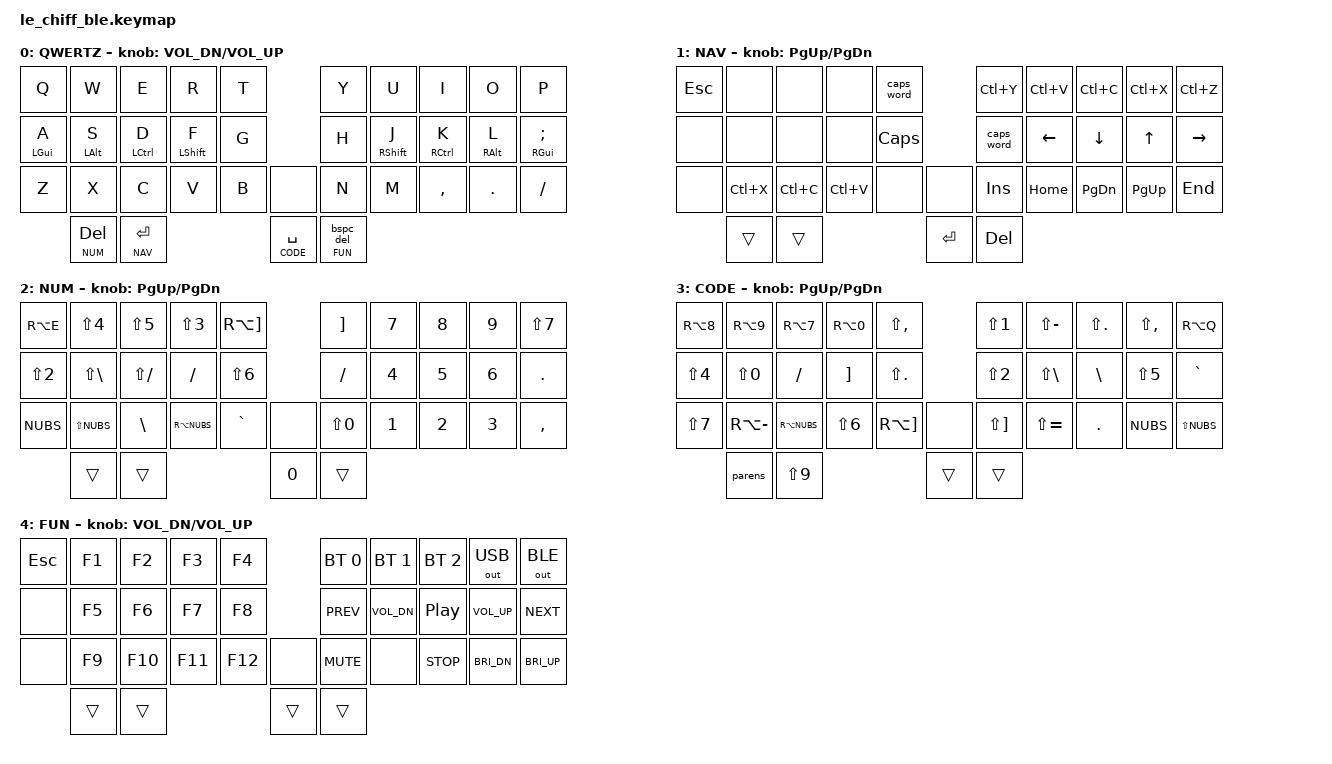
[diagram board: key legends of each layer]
/*
 * Le Chiffre BLE (MangoIV) – Michel QWERTZ Developer Layout v1.8
 *
 * Annahme: Betriebssystem steht auf Deutsch/QWERTZ.
 */

#include <behaviors.dtsi>
#include <dt-bindings/zmk/keys.h>
#include <dt-bindings/zmk/bt.h>
#include <dt-bindings/zmk/outputs.h>
#include <dt-bindings/zmk/modifiers.h>

#define BASE 0
#define NAV  1
#define NUM  2
#define CODE 3
#define FUN  4

/*
 * Standard Layer-Tap.
 */
&lt {
    tapping-term-ms = <200>;
    quick-tap-ms = <150>;
};

/*
 * Standard Mod-Tap.
 */
&mt {
    tapping-term-ms = <200>;
    quick-tap-ms = <150>;
};

/ {
    behaviors {
        /*
         * Shift + Backspace = Delete.
         */
        bspc_del: backspace_delete {
            compatible = "zmk,behavior-mod-morph";
            #binding-cells = <0>;
            bindings = <&kp BSPC>, <&kp DEL>;
            mods = <(MOD_LSFT|MOD_RSFT)>;
        };

        /*
         * Delete / NUM:
         * Tap  = Delete
         * Hold = NUM
         * Tap, dann nochmal halten = mehrfach Delete.
         */
        num_del: num_delete {
            compatible = "zmk,behavior-hold-tap";
            #binding-cells = <2>;
            flavor = "tap-preferred";
            tapping-term-ms = <200>;
            quick-tap-ms = <300>;
            bindings = <&mo>, <&kp>;
        };

        /*
         * Bspc / FUN:
         * Tap         = Backspace
         * Shift + Tap = Delete
         * Hold        = FUN / MEDIA
         *
         * Backspace tap-hold-repeat bitte testen.
         */
        fun_bspc: fun_backspace {
            compatible = "zmk,behavior-hold-tap";
            #binding-cells = <2>;
            flavor = "tap-preferred";
            tapping-term-ms = <200>;
            quick-tap-ms = <300>;
            bindings = <&mo>, <&bspc_del>;
        };

        /*
         * Home-Row-Mods links ohne Shift.
         *
         * A = GUI
         * S = ALT
         * D = CTRL
         *
         * F bekommt eigenes Shift-Verhalten.
         */
        hml: home_row_mod_left {
            compatible = "zmk,behavior-hold-tap";
            #binding-cells = <2>;
            flavor = "balanced";
            tapping-term-ms = <280>;
            quick-tap-ms = <175>;
            require-prior-idle-ms = <100>;
            bindings = <&kp>, <&kp>;
            hold-trigger-key-positions = <5 6 7 8 9 15 16 17 18 19 26 27 28 29 30 33 34>;
            hold-trigger-on-release;
        };

        /*
         * Home-Row-Mods rechts ohne Shift.
         *
         * K = CTRL
         * L = ALTGR
         * Ö = GUI
         *
         * J bekommt eigenes Shift-Verhalten.
         */
        hmr: home_row_mod_right {
            compatible = "zmk,behavior-hold-tap";
            #binding-cells = <2>;
            flavor = "balanced";
            tapping-term-ms = <280>;
            quick-tap-ms = <175>;
            require-prior-idle-ms = <100>;
            bindings = <&kp>, <&kp>;
            hold-trigger-key-positions = <0 1 2 3 4 10 11 12 13 14 20 21 22 23 24 31 32>;
            hold-trigger-on-release;
        };

        /*
         * Eigenes Shift-Verhalten links.
         *
         * F = Buchstabe
         * F halten = Shift
         */
        hml_shift: home_row_shift_left {
            compatible = "zmk,behavior-hold-tap";
            #binding-cells = <2>;
            flavor = "hold-preferred";
            tapping-term-ms = <280>;
            quick-tap-ms = <175>;
            bindings = <&kp>, <&kp>;
            hold-trigger-key-positions = <5 6 7 8 9 15 16 17 18 19 26 27 28 29 30 33 34>;
            hold-trigger-on-release;
        };

        /*
         * Eigenes Shift-Verhalten rechts.
         *
         * J = Buchstabe
         * J halten = Shift
         */
        hmr_shift: home_row_shift_right {
            compatible = "zmk,behavior-hold-tap";
            #binding-cells = <2>;
            flavor = "hold-preferred";
            tapping-term-ms = <280>;
            quick-tap-ms = <175>;
            bindings = <&kp>, <&kp>;
            hold-trigger-key-positions = <0 1 2 3 4 10 11 12 13 14 20 21 22 23 24 31 32>;
            hold-trigger-on-release;
        };

        /*
         * Makro:
         * Schreibt () und setzt den Cursor in die Mitte.
         */
        parens: parens_with_cursor_inside {
            compatible = "zmk,behavior-macro";
            #binding-cells = <0>;
            wait-ms = <40>;
            tap-ms = <40>;
            bindings = <&kp LS(N8) &kp LS(N9) &kp LEFT>;
        };

        /*
         * Makro:
         * Schreibt {} und setzt den Cursor in die Mitte.
         */
        braces: braces_with_cursor_inside {
            compatible = "zmk,behavior-macro";
            #binding-cells = <0>;
            wait-ms = <40>;
            tap-ms = <40>;
            bindings = <&kp RA(N7) &kp RA(N0) &kp LEFT>;
        };

        /*
         * Makro:
         * Schreibt [] und setzt den Cursor in die Mitte.
         */
        brackets: brackets_with_cursor_inside {
            compatible = "zmk,behavior-macro";
            #binding-cells = <0>;
            wait-ms = <40>;
            tap-ms = <40>;
            bindings = <&kp RA(N8) &kp RA(N9) &kp LEFT>;
        };

        /*
         * Makro:
         * Schreibt "" und setzt den Cursor in die Mitte.
         */
        quotes: quotes_with_cursor_inside {
            compatible = "zmk,behavior-macro";
            #binding-cells = <0>;
            wait-ms = <40>;
            tap-ms = <40>;
            bindings = <&kp LS(N2) &kp LS(N2) &kp LEFT>;
        };
    };

    combos {
        compatible = "zmk,combos";

        /*
         * Delete + Enter = Tab
         */
        combo_tab {
            timeout-ms = <60>;
            key-positions = <31 32>;
            bindings = <&kp TAB>;
            layers = <BASE>;
        };

        /*
         * BASE: A + S = Ä
         */
        combo_ae {
            timeout-ms = <60>;
            require-prior-idle-ms = <150>;
            key-positions = <10 11>;
            bindings = <&kp SQT>;
            layers = <BASE>;
        };

        /*
         * BASE: U + I = Ü
         */
        combo_ue {
            timeout-ms = <60>;
            require-prior-idle-ms = <150>;
            key-positions = <6 7>;
            bindings = <&kp LBKT>;
            layers = <BASE>;
        };

        /*
         * BASE: S + D = ß
         */
        combo_sz {
            timeout-ms = <60>;
            require-prior-idle-ms = <150>;
            key-positions = <11 12>;
            bindings = <&kp MINUS>;
            layers = <BASE>;
        };

        /*
         * CODE: A + S = {} mit Cursor innen.
         */
        combo_code_braces {
            timeout-ms = <60>;
            key-positions = <10 11>;
            bindings = <&braces>;
            layers = <CODE>;
        };

        /*
         * CODE: D + F = [] mit Cursor innen.
         */
        combo_code_brackets {
            timeout-ms = <60>;
            key-positions = <12 13>;
            bindings = <&brackets>;
            layers = <CODE>;
        };

        /*
         * CODE: J + K = "" mit Cursor innen.
         */
        combo_code_quotes {
            timeout-ms = <60>;
            key-positions = <16 17>;
            bindings = <&quotes>;
            layers = <CODE>;
        };
    };

    keymap {
        compatible = "zmk,keymap";

        base {
            label = "QWERTZ";
//  ______________________________       ______________________________
// /  Q  |  W  |  E  |  R  |  T   \     /  Z  |  U  |  I  |  O  |  P   \
// |Gui/A|Alt/S|Ctl/D|Sft/F|  G   |     |  H  |Sft/J|Ctl/K|AltGr/L|Gui/Ö|
// |  Y  |  X  |  C  |  V  |  B   |     |  N  |  M  |  ,  |  .  |  -   |
//         \ Delete/NUM | Enter/NAV /     \ Space/CODE | Bspc/FUN /
            bindings = <
                &kp Q              &kp W          &kp E          &kp R          &kp T              &kp Y              &kp U          &kp I          &kp O          &kp P
                &hml LGUI A        &hml LALT S    &hml LCTRL D   &hml_shift LSHFT F &kp G           &kp H              &hmr_shift RSHFT J &hmr RCTRL K   &hmr RALT L    &hmr RGUI SEMI
                &kp Z              &kp X          &kp C          &kp V          &kp B   &none      &kp N              &kp M          &kp COMMA      &kp DOT        &kp SLASH
                                    &num_del NUM DEL   &lt NAV RET                   &lt CODE SPACE      &fun_bspc FUN 0
            >;
            sensor-bindings = <&inc_dec_kp C_VOL_DN C_VOL_UP>;
        };

        nav {
            label = "NAV";
//  Enter halten.
//  Miryoku-artiger Editier-/Navigationslayer.
//
//  Links:
//  Esc / CapsW / Caps
//  X/C/V zusätzlich als Cut/Copy/Paste
//
//  Rechts:
//  Redo / Paste / Copy / Cut / Undo
//  CapsW + Pfeile auf Home Row
//  Insert / Home / PageDown / PageUp / End
//
//  Auf diesem Layer:
//  Bspc-Taste = Delete
            bindings = <
                &kp ESC        &none          &none          &none          &caps_word        &kp LC(Y)      &kp LC(V)      &kp LC(C)      &kp LC(X)      &kp LC(Z)
                &none          &none          &none          &none          &kp CAPS          &caps_word     &kp LEFT       &kp DOWN       &kp UP         &kp RIGHT
                &none          &kp LC(X)      &kp LC(C)      &kp LC(V)      &none   &none     &kp INS        &kp HOME       &kp PG_DN      &kp PG_UP      &kp END
                                &trans         &trans                           &kp RET        &kp DEL
            >;
            sensor-bindings = <&inc_dec_kp PG_UP PG_DN>;
        };

        num {
            label = "NUM";
//  Delete halten.
//  Zahlen rechts, 0 auf Space/CODE-Thumb.
//
//  Links:
//  € $ % § ~
//  " ' _ - &
//  < > # | ^
//
//  Rechts:
//  + 7 8 9 /
//  - 4 5 6 .
//  = 1 2 3 ,
            bindings = <
                &kp RA(E)      &kp LS(N4)     &kp LS(N5)     &kp LS(N3)     &kp RA(RBKT)      &kp RBKT       &kp N7         &kp N8         &kp N9         &kp LS(N7)
                &kp LS(N2)     &kp LS(BSLH)   &kp LS(SLASH)  &kp SLASH      &kp LS(N6)        &kp SLASH      &kp N4         &kp N5         &kp N6         &kp DOT
                &kp NUBS       &kp LS(NUBS)   &kp BSLH       &kp RA(NUBS)   &kp GRAVE &none   &kp LS(N0)    &kp N1         &kp N2         &kp N3         &kp COMMA
                                &trans         &trans                           &kp N0         &trans
            >;
            sensor-bindings = <&inc_dec_kp PG_UP PG_DN>;
        };

        code {
            label = "CODE";
//  Space halten.
//  Entwickler-Symbole nach deiner gewünschten Anordnung.
//
//  Links:
//  [ ] { } ;
//  $ = - + :
//  / \ | & ~
//
//  Rechts:
//  ! ? : ; @
//  " ' # % ^
//  * ` . < >
//
//  Auf diesem Layer:
//  Delete-Thumb = Makro: () mit Cursor innen
//  Enter-Thumb  = )
//
//  CODE-Combos:
//  A+S = {} mit Cursor innen
//  D+F = [] mit Cursor innen
//  J+K = "" mit Cursor innen
            bindings = <
                &kp RA(N8)     &kp RA(N9)     &kp RA(N7)     &kp RA(N0)     &kp LS(COMMA)    &kp LS(N1)     &kp LS(MINUS)  &kp LS(DOT)    &kp LS(COMMA)  &kp RA(Q)
                &kp LS(N4)     &kp LS(N0)     &kp SLASH      &kp RBKT       &kp LS(DOT)      &kp LS(N2)     &kp LS(BSLH)   &kp BSLH       &kp LS(N5)     &kp GRAVE
                &kp LS(N7)     &kp RA(MINUS)  &kp RA(NUBS)   &kp LS(N6)     &kp RA(RBKT) &none &kp LS(RBKT)  &kp LS(EQUAL)  &kp DOT        &kp NUBS       &kp LS(NUBS)
                                &parens        &kp LS(N9)                       &trans         &trans
            >;
            sensor-bindings = <&inc_dec_kp PG_UP PG_DN>;
        };

        fun_media {
            label = "FUN";
//  Bspc halten.
//  Links: F-Tasten.
//  Rechts: Media / Bluetooth / USB nach Häufigkeit sortiert.
//
//  Rechts oben: Verbindung
//  Rechts Home Row: Media-Steuerung
//  Rechts unten: Mute / Stop / Helligkeit
            bindings = <
                &kp ESC        &kp F1         &kp F2         &kp F3         &kp F4            &bt BT_SEL 0   &bt BT_SEL 1   &bt BT_SEL 2   &out OUT_USB   &out OUT_BLE
                &none          &kp F5         &kp F6         &kp F7         &kp F8            &kp C_PREV     &kp C_VOL_DN   &kp C_PP       &kp C_VOL_UP   &kp C_NEXT
                &none          &kp F9         &kp F10        &kp F11        &kp F12 &none     &kp C_MUTE     &none          &kp C_STOP     &kp C_BRI_DN   &kp C_BRI_UP
                                &trans         &trans                           &trans         &trans
            >;
            sensor-bindings = <&inc_dec_kp C_VOL_DN C_VOL_UP>;
        };
    };
};
